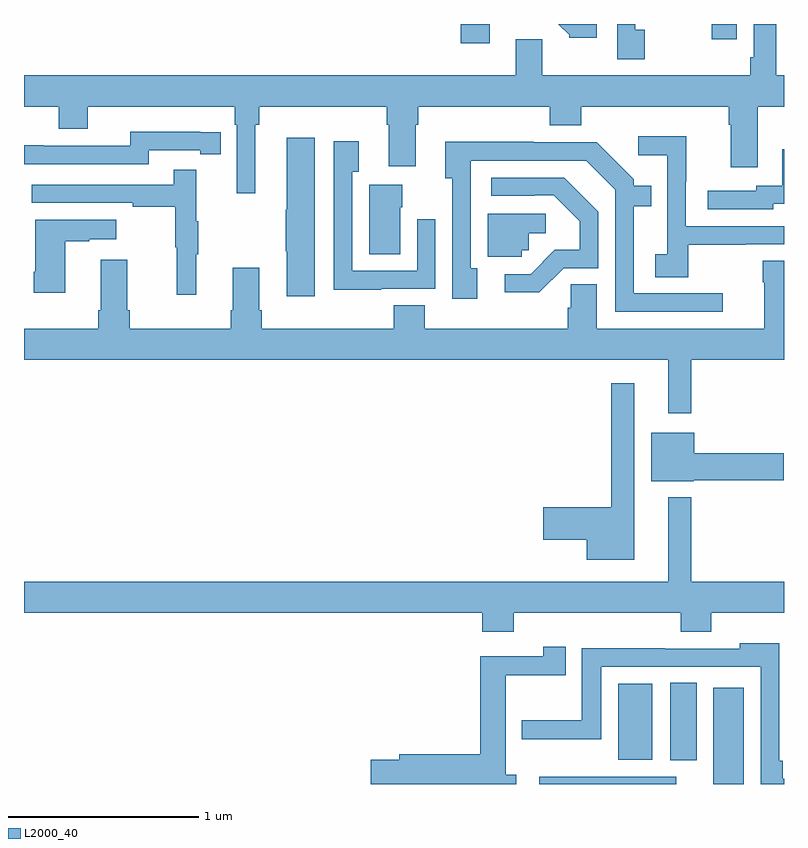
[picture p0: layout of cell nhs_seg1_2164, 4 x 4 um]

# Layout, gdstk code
import gdstk
lib = gdstk.Library(unit=1e-6, precision=1e-09)
def R(c, l, rs):  # rectangles x0, y0, x1, y1
    for r in rs: c.add(gdstk.rectangle(r[:2], r[2:], *l))
def P(c, l, *ps):  # polygons
    for p in ps: c.add(gdstk.Polygon(p, *l))
L2000_40 = (2000, 40)

nhs_seg1_2164 = lib.new_cell('nhs_seg1_2164')
R(nhs_seg1_2164, L2000_40, [(231.711,516.199,232.432,516.238), (232.628,516.199,232.789,516.706), (232.4,516.323,232.54,516.731), (232.127,516.326,232.306,516.727), (231.299,520.097,231.451,520.199), (232.621,520.119,232.75,520.199)])
P(nhs_seg1_2164, L2000_40, [(232.015,520.199),(231.813,520.199),(231.87,520.142),(231.87,520.127),(232.015,520.127)],
  [(232.266,520.17),(232.218,520.17),(232.218,520.199),(232.122,520.199),(232.122,520.014),(232.266,520.014)],
  [(229,519.764),(229.184,519.764),(229.184,519.647),(229.336,519.647),(229.336,519.764),(230.108,519.764),(230.108,519.668),(230.121,519.668),(230.121,519.309),(230.218,519.309),(230.218,519.668),(230.237,519.668),(230.237,519.764),(230.909,519.764),(230.909,519.668),(230.921,519.668),(230.921,519.45),(231.061,519.45),(231.061,519.668),(231.074,519.668),(231.074,519.764),(231.767,519.764),(231.767,519.665),(231.932,519.665),(231.932,519.764),(232.709,519.764),(232.709,519.668),(232.721,519.668),(232.721,519.444),(232.861,519.444),(232.861,519.764),(233,519.764),(233,519.928),(232.958,519.928),(232.958,520.199),(232.842,520.199),(232.842,520.024),(232.822,520.024),(232.822,519.928),(231.727,519.928),(231.727,520.118),(231.587,520.118),(231.587,519.928),(229,519.928)],
  [(229.656,519.534),(229.928,519.534),(229.928,519.514),(230.036,519.514),(230.036,519.63),(229.928,519.63),(229.928,519.631),(229.56,519.631),(229.56,519.558),(229.1,519.558),(229.1,519.56),(229,519.56),(229,519.462),(229.656,519.462)],
  [(232.495,519.037),(232.799,519.037),(232.799,519.039),(233,519.039),(233,519.135),(232.482,519.135),(232.482,519.368),(232.485,519.368),(232.485,519.607),(232.233,519.607),(232.233,519.509),(232.386,519.509),(232.386,518.988),(232.323,518.988),(232.323,518.866),(232.495,518.866)],
  [(230.53,519.601),(230.384,519.601),(230.384,519.221),(230.377,519.221),(230.377,519.004),(230.384,519.004),(230.384,518.766),(230.53,518.766)],
  [(230.881,518.805),(231.165,518.805),(231.165,519.172),(231.069,519.172),(231.069,518.901),(230.727,518.901),(230.727,519.422),(230.761,519.422),(230.761,519.583),(230.631,519.583),(230.631,518.801),(230.881,518.801)],
  [(232.678,518.781),(232.21,518.781),(232.21,519.24),(232.301,519.24),(232.301,519.349),(232.209,519.349),(232.209,519.381),(232.014,519.576),(231.683,519.576),(231.683,519.578),(231.218,519.578),(231.218,519.386),(231.255,519.386),(231.255,518.754),(231.385,518.754),(231.385,518.914),(231.351,518.914),(231.351,519.48),(231.96,519.48),(232.113,519.327),(232.113,518.685),(232.678,518.685)],
  [(232.944,519.252),(233,519.252),(233,519.541),(232.991,519.541),(232.991,519.348),(232.854,519.348),(232.854,519.321),(232.599,519.321),(232.599,519.225),(232.944,519.225)],
  [(229.907,518.987),(229.918,518.987),(229.918,519.161),(229.907,519.161),(229.907,519.433),(229.789,519.433),(229.789,519.354),(229.041,519.354),(229.041,519.258),(229.573,519.258),(229.573,519.238),(229.797,519.238),(229.797,519.024),(229.804,519.024),(229.804,518.775),(229.907,518.775)],
  [(231.84,518.913),(232.023,518.913),(232.023,519.211),(231.844,519.39),(231.459,519.39),(231.459,519.294),(231.689,519.294),(231.689,519.297),(231.789,519.297),(231.926,519.16),(231.926,519.01),(231.793,519.01),(231.666,518.883),(231.531,518.883),(231.531,518.786),(231.712,518.786)],
  [(230.98,519.234),(230.992,519.234),(230.992,519.352),(230.816,519.352),(230.816,518.988),(230.98,518.988)],
  [(231.621,519.009),(231.657,519.009),(231.657,519.098),(231.745,519.098),(231.745,519.201),(231.44,519.201),(231.44,518.973),(231.621,518.973)],
  [(229.216,519.055),(229.343,519.055),(229.343,519.065),(229.486,519.065),(229.486,519.169),(229.058,519.169),(229.058,518.896),(229.051,518.896),(229.051,518.784),(229.216,518.784)],
  [(232.513,518.432),(233,518.432),(233,518.953),(232.888,518.953),(232.888,518.84),(232.895,518.84),(232.895,518.596),(232.015,518.596),(232.015,518.828),(231.877,518.828),(231.877,518.706),(231.863,518.706),(231.863,518.596),(231.11,518.596),(231.11,518.72),(230.945,518.72),(230.945,518.596),(230.252,518.596),(230.252,518.692),(230.239,518.692),(230.239,518.917),(230.099,518.917),(230.099,518.692),(230.087,518.692),(230.087,518.596),(229.556,518.596),(229.556,518.692),(229.543,518.692),(229.543,518.959),(229.403,518.959),(229.403,518.692),(229.391,518.692),(229.391,518.596),(229,518.596),(229,518.432),(232.391,518.432),(232.391,518.151),(232.513,518.151)],
  [(232.213,518.308),(232.092,518.308),(232.092,517.655),(231.732,517.655),(231.732,517.484),(231.962,517.484),(231.962,517.379),(232.213,517.379)],
  [(232.524,517.799),(232.999,517.799),(232.999,517.941),(232.528,517.941),(232.528,518.047),(232.301,518.047),(232.301,517.793),(232.524,517.793)],
  [(231.578,517.1),(232.457,517.1),(232.457,517.001),(232.617,517.001),(232.617,517.1),(233,517.1),(233,517.264),(232.513,517.264),(232.513,517.708),(232.391,517.708),(232.391,517.264),(229,517.264),(229,517.1),(231.413,517.1),(231.413,517.001),(231.578,517.001)],
  [(233,516.226),(232.994,516.226),(232.994,516.322),(232.974,516.322),(232.974,516.94),(232.767,516.94),(232.767,516.912),(232.373,516.912),(232.373,516.914),(231.935,516.914),(231.935,516.534),(231.62,516.534),(231.62,516.434),(232.039,516.434),(232.039,516.816),(232.878,516.816),(232.878,516.199),(233,516.199)],
  [(231.592,516.248),(231.535,516.248),(231.535,516.772),(231.85,516.772),(231.85,516.922),(231.733,516.922),(231.733,516.871),(231.401,516.871),(231.401,516.356),(230.975,516.356),(230.975,516.326),(230.826,516.326),(230.826,516.199),(231.592,516.199)])

lib.write_gds('nhs_seg1_2164.gds')
